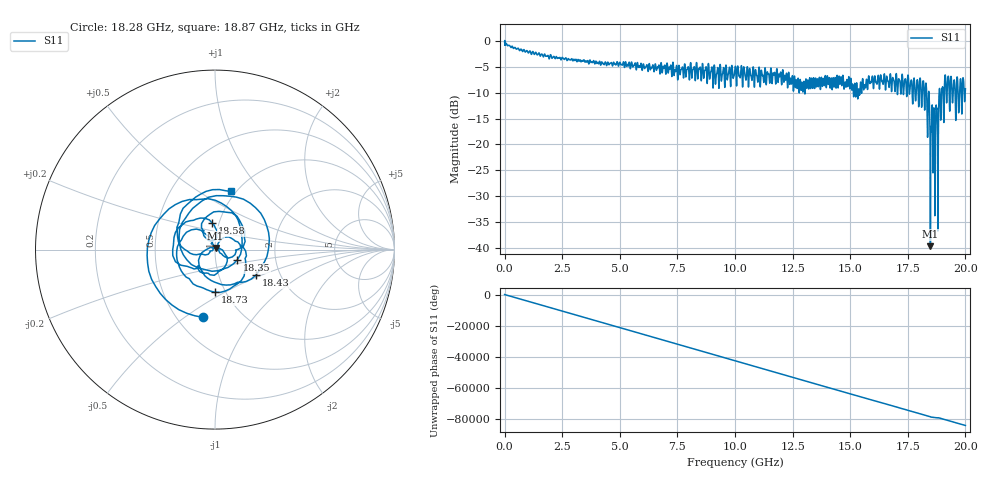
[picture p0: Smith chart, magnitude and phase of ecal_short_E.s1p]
! MS46122B
! 2250307/22442219
! 6/18/2025 7:48:29 AM
! C:\USERS\SPARKY\DOCUMENTS\VNA_DATA\JUNE18_2025\3.0K\ECAL_SHORT_E.S1P
! CHANNEL.1
! TR.MEASUREMENT
! RAW.DATA
# GHZ S RI R 50.0
! FREQ.GHZ  S11RE  S11IM
!; PortSelection: Port_1
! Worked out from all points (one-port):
!   10001 points, 1 MHz to 20 GHz, reference 50 ohm
!   lowest |S11| = -39.7 dB at 18.48 GHz (marker M1), VSWR 1.02, Z = 50.3 + j0.987 ohm
!   |S11| at or under -10 dB: 18.31754 GHz to 18.40428 GHz (86.74 MHz wide, 0.472 % of centre); 18.42 GHz to 18.86 GHz (442.8 MHz wide, 2.38 % of centre); 18.8943 GHz to 18.96492 GHz (70.62 MHz wide, 0.373 % of centre) (the widest 3 of 28)
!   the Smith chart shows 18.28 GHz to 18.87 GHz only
!   S11 on the Smith chart (normalised r, x): 18.28 GHz: 0.67, -0.59; 18.35 GHz: 1.28, -0.15; 18.43 GHz: 1.50, -0.46; 18.58 GHz: 0.93, +0.28; 18.73 GHz: 0.89, -0.45; 18.87 GHz: 0.95, +0.69
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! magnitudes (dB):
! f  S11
! 1 MHz  -0.2
! 2.501 GHz  -3.2
! 5.001 GHz  -4.1
! 7.501 GHz  -6.9
! 10 GHz  -5.3
! 12.5 GHz  -6.9
! 12.95 GHz  -9.8
! 15 GHz  -8.2
! 15.32 GHz  -10.9
! 15.88 GHz  -7.9
! 17.5 GHz  -6.8
! 18.1 GHz  -12.7
! 18.23 GHz  -13.3
! 18.28 GHz  -8.3
! 18.35 GHz  -17.3
! 18.43 GHz  -11.4
! 18.48 GHz  -39.7
! 18.58 GHz  -16.4
! 18.65 GHz  -15.2
! 18.73 GHz  -12.5
! 18.8 GHz  -30.0
! 18.87 GHz  -9.5
! 18.94 GHz  -14.7
! 19 GHz  -9.2
! 19.19 GHz  -11.9
! 19.65 GHz  -7.0
! 19.71 GHz  -13.8
! 20 GHz  -9.2
